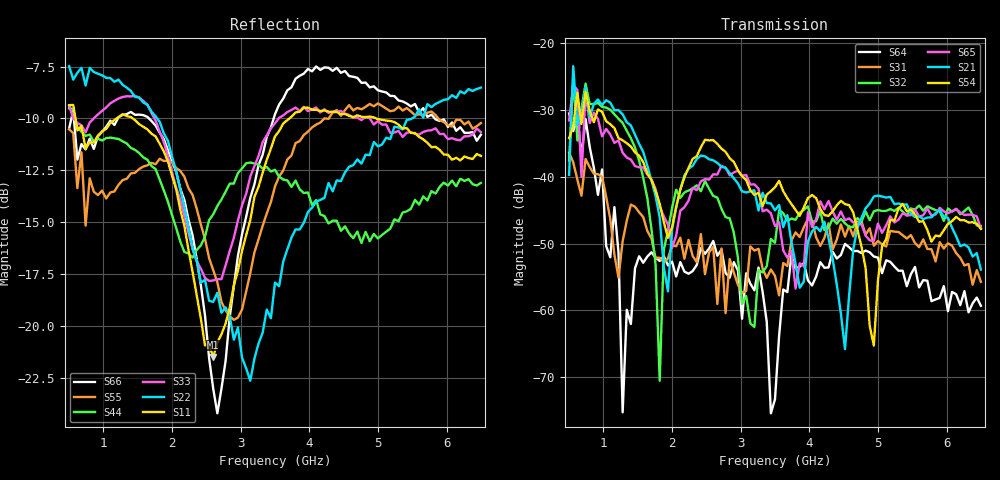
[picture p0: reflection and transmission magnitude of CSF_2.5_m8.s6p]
!Keysight Technologies,M9804A,MY58100912,A.14.10.03
!Date: Thursday, April 27, 2023 10:28:33
!Correction: S11(C  6-Port  )
!S12(C  6-Port  )
!S13(C  6-Port  )
!S14(C  6-Port  )
!S15(C  6-Port  )
!S16(C  6-Port  )
!S21(C  6-Port  )
!S22(C  6-Port  )
!S23(C  6-Port  )
!S24(C  6-Port  )
!S25(C  6-Port  )
!S26(C  6-Port  )
!S31(C  6-Port  )
!S32(C  6-Port  )
!S33(C  6-Port  )
!S34(C  6-Port  )
!S35(C  6-Port  )
!S36(C  6-Port  )
!S41(C  6-Port  )
!S42(C  6-Port  )
!S43(C  6-Port  )
!S44(C  6-Port  )
!S45(C  6-Port  )
!S46(C  6-Port  )
!S51(C  6-Port  )
!S52(C  6-Port  )
!S53(C  6-Port  )
!S54(C  6-Port  )
!S55(C  6-Port  )
!S56(C  6-Port  )
!S61(C  6-Port  )
!S62(C  6-Port  )
!S63(C  6-Port  )
!S64(C  6-Port  )
!S65(C  6-Port  )
!S66(C  6-Port  )
!S6P File: Measurement: :
# Hz S  RI  R 50
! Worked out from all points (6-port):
!   101 points, 500 MHz to 6.5 GHz, reference 50 ohm
!   strongest paths, dB at 500 MHz, 2 GHz, 3.5 GHz, 5 GHz, 6.5 GHz:
!     S54: -34.2, -47.6, -41.6, -55.6, -47.8
!     S21: -39.7, -47.9, -45.0, -42.8, -53.9
!     S65: -31.6, -50.6, -47.4, -47.0, -47.8
!     S32: -37.6, -44.7, -49.9, -45.0, -47.3
!     S31: -36.4, -50.3, -54.9, -49.6, -55.7
!     S64: -30.5, -52.7, -73.3, -52.1, -59.3
!   lowest |S11| = -21.5 dB at 2.6 GHz (marker M1), VSWR 1.18, Z = 42.5 + j2.16 ohm
!   |S11| at or under -10 dB: 591.8 MHz to 1.191 GHz (599.6 MHz wide, 67.3 % of centre); 1.427 GHz to 3.71 GHz (2.283 GHz wide, 88.9 % of centre); 4.975 GHz to end of sweep
